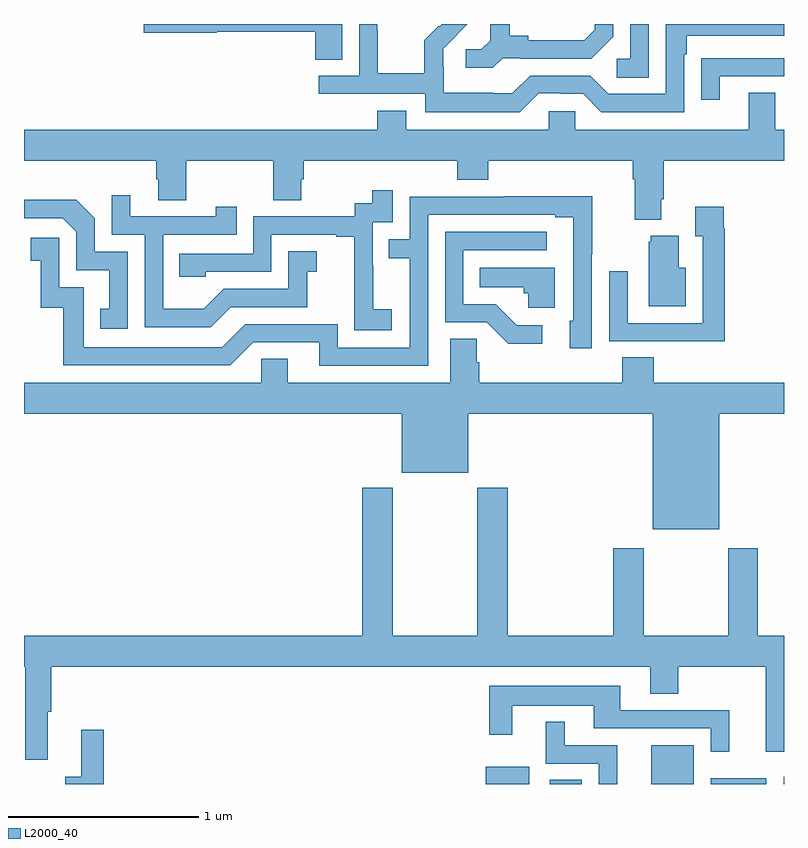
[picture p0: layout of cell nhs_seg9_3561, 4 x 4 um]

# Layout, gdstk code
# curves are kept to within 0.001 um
import gdstk
lib = gdstk.Library(unit=1e-6, precision=1e-09)
def R(c, l, rs):  # rectangles x0, y0, x1, y1
    for r in rs: c.add(gdstk.rectangle(r[:2], r[2:], *l))
def P(c, l, *ps):  # polygons
    for p in ps: c.add(gdstk.Polygon(p, *l))
L2000_40 = (2000, 40)

nhs_seg9_3561 = lib.new_cell('nhs_seg9_3561')
R(nhs_seg9_3561, L2000_40, [(317.429,1166.5,317.659,1166.59), (317.768,1166.5,317.935,1166.522), (318.302,1166.5,318.526,1166.704), (318.614,1166.5,318.907,1166.53), (318.999,1166.5,319,1166.539), (317.729,1170.499,317.874,1170.5)])
P(nhs_seg9_3561, L2000_40, [(316.675,1170.5),(315.63,1170.5),(315.63,1170.455),(316.014,1170.455),(316.014,1170.46),(316.532,1170.46),(316.532,1170.313),(316.675,1170.313)],
  [(317.709,1170.135),(317.825,1170.135),(317.825,1170.132),(317.943,1170.132),(318.039,1170.036),(318.474,1170.036),(318.474,1170.341),(318.487,1170.341),(318.487,1170.438),(319,1170.438),(319,1170.5),(318.378,1170.5),(318.378,1170.132),(318.075,1170.132),(317.979,1170.228),(317.664,1170.228),(317.571,1170.135),(317.471,1170.135),(317.471,1170.139),(317.208,1170.139),(317.208,1170.273),(317.206,1170.273),(317.206,1170.37),(317.334,1170.5),(317.198,1170.5),(317.187,1170.489),(317.184,1170.492),(317.107,1170.415),(317.107,1170.241),(316.863,1170.241),(316.863,1170.464),(316.86,1170.464),(316.86,1170.5),(316.764,1170.5),(316.764,1170.228),(316.551,1170.228),(316.551,1170.132),(317.112,1170.132),(317.112,1170.035),(317.609,1170.035)],
  [(317.52,1170.321),(317.614,1170.321),(317.614,1170.318),(317.986,1170.318),(318.102,1170.434),(318.102,1170.5),(318.005,1170.5),(318.005,1170.471),(317.948,1170.414),(317.653,1170.414),(317.653,1170.437),(317.557,1170.437),(317.557,1170.5),(317.453,1170.5),(317.453,1170.413),(317.406,1170.366),(317.325,1170.366),(317.325,1170.269),(317.468,1170.269)],
  [(318.288,1170.5),(318.192,1170.5),(318.192,1170.318),(318.12,1170.318),(318.12,1170.217),(318.288,1170.217)],
  [(318.661,1170.225),(319,1170.225),(319,1170.321),(318.667,1170.321),(318.667,1170.32),(318.565,1170.32),(318.565,1170.102),(318.661,1170.102)],
  [(318.355,1169.578),(318.368,1169.578),(318.368,1169.78),(319,1169.78),(319,1169.944),(318.955,1169.944),(318.955,1170.139),(318.815,1170.139),(318.815,1169.944),(317.901,1169.944),(317.901,1170.042),(317.763,1170.042),(317.763,1169.944),(317.011,1169.944),(317.011,1170.043),(316.859,1170.043),(316.859,1169.944),(315,1169.944),(315,1169.78),(315.695,1169.78),(315.695,1169.682),(315.707,1169.682),(315.707,1169.572),(315.855,1169.572),(315.855,1169.78),(316.312,1169.78),(316.312,1169.572),(316.459,1169.572),(316.459,1169.682),(316.472,1169.682),(316.472,1169.78),(317.279,1169.78),(317.279,1169.681),(317.444,1169.681),(317.444,1169.78),(318.203,1169.78),(318.203,1169.684),(318.215,1169.684),(318.215,1169.471),(318.355,1169.471)],
  [(316.936,1168.999),(316.838,1168.999),(316.838,1169.228),(316.836,1169.228),(316.836,1169.457),(316.941,1169.457),(316.941,1169.626),(316.833,1169.626),(316.833,1169.556),(316.74,1169.556),(316.74,1169.487),(316.206,1169.487),(316.206,1169.292),(315.817,1169.292),(315.817,1169.169),(315.957,1169.169),(315.957,1169.196),(316.302,1169.196),(316.302,1169.391),(316.643,1169.391),(316.643,1169.379),(316.739,1169.379),(316.739,1169.095),(316.738,1169.095),(316.738,1168.889),(316.936,1168.889)],
  [(316.087,1169.01),(316.491,1169.01),(316.491,1169.195),(316.54,1169.195),(316.54,1169.305),(316.392,1169.305),(316.392,1169.106),(316.05,1169.106),(315.946,1169.002),(315.732,1169.002),(315.732,1169.391),(316.121,1169.391),(316.121,1169.539),(316.01,1169.539),(316.01,1169.487),(315.559,1169.487),(315.559,1169.599),(315.462,1169.599),(315.462,1169.391),(315.636,1169.391),(315.636,1168.905),(315.982,1168.905)],
  [(317.127,1169.496),(317.795,1169.496),(317.795,1169.484),(317.892,1169.484),(317.892,1168.938),(317.873,1168.938),(317.873,1168.794),(317.988,1168.794),(317.988,1169.287),(317.991,1169.287),(317.991,1169.594),(317.527,1169.594),(317.527,1169.592),(317.031,1169.592),(317.031,1169.367),(316.921,1169.367),(316.921,1169.266),(317.031,1169.266),(317.031,1168.797),(316.65,1168.797),(316.65,1168.92),(316.164,1168.92),(316.044,1168.8),(315.315,1168.8),(315.315,1169.115),(315.186,1169.115),(315.186,1169.374),(315.036,1169.374),(315.036,1169.253),(315.089,1169.253),(315.089,1169.007),(315.207,1169.007),(315.207,1168.704),(316.086,1168.704),(316.206,1168.824),(316.553,1168.824),(316.553,1168.701),(317.127,1168.701)],
  [(315.546,1169.301),(315.372,1169.301),(315.372,1169.478),(315.274,1169.576),(315,1169.576),(315,1169.478),(315.204,1169.478),(315.276,1169.406),(315.276,1169.205),(315.449,1169.205),(315.449,1169.001),(315.4,1169.001),(315.4,1168.896),(315.546,1168.896)],
  [(318.689,1169.426),(318.682,1169.426),(318.682,1169.539),(318.533,1169.539),(318.533,1169.383),(318.573,1169.383),(318.573,1168.926),(318.177,1168.926),(318.177,1169.2),(318.081,1169.2),(318.081,1168.83),(318.397,1168.83),(318.397,1168.829),(318.689,1168.829)],
  [(317.728,1168.914),(317.593,1168.914),(317.482,1169.025),(317.313,1169.025),(317.313,1169.31),(317.752,1169.31),(317.752,1169.406),(317.217,1169.406),(317.217,1168.929),(317.436,1168.929),(317.549,1168.817),(317.728,1168.817)],
  [(318.484,1169.218),(318.445,1169.218),(318.445,1169.386),(318.299,1169.386),(318.299,1169.355),(318.287,1169.355),(318.287,1169.015),(318.484,1169.015)],
  [(317.794,1169.218),(317.398,1169.218),(317.398,1169.114),(317.629,1169.114),(317.629,1169.082),(317.655,1169.082),(317.655,1169.006),(317.794,1169.006)],
  [(317.382,1168.721),(317.382,1168.844),(317.243,1168.844),(317.243,1168.612),(316.387,1168.612),(316.387,1168.739),(316.248,1168.739),(316.248,1168.612),(315,1168.612),(315,1168.448),(316.988,1168.448),(316.988,1168.139),(317.338,1168.139),(317.338,1168.448),(318.308,1168.448),(318.308,1167.842),(318.658,1167.842),(318.658,1168.448),(319,1168.448),(319,1168.612),(318.314,1168.612),(318.314,1168.745),(318.149,1168.745),(318.149,1168.612),(317.396,1168.612),(317.396,1168.721)],
  [(315.125,1166.88),(315.143,1166.88),(315.143,1167.116),(318.296,1167.116),(318.296,1166.974),(318.444,1166.974),(318.444,1167.116),(318.905,1167.116),(318.905,1166.67),(319,1166.67),(319,1167.28),(318.861,1167.28),(318.861,1167.742),(318.706,1167.742),(318.706,1167.28),(318.261,1167.28),(318.261,1167.742),(318.101,1167.742),(318.101,1167.28),(317.546,1167.28),(317.546,1168.06),(317.386,1168.06),(317.386,1167.28),(316.941,1167.28),(316.941,1168.06),(316.781,1168.06),(316.781,1167.28),(315,1167.28),(315,1167.116),(315.007,1167.116),(315.007,1166.628),(315.125,1166.628)],
  [(318.713,1166.889),(318.139,1166.889),(318.139,1167.016),(317.448,1167.016),(317.448,1166.76),(317.569,1166.76),(317.569,1166.912),(317.999,1166.912),(317.999,1166.793),(318.615,1166.793),(318.615,1166.67),(318.713,1166.67)],
  [(318.122,1166.703),(317.845,1166.703),(317.845,1166.827),(317.747,1166.827),(317.747,1166.607),(318.024,1166.607),(318.024,1166.5),(318.122,1166.5)],
  [(315.419,1166.785),(315.302,1166.785),(315.302,1166.537),(315.216,1166.537),(315.216,1166.5),(315.419,1166.5)])

lib.write_gds('nhs_seg9_3561.gds')
